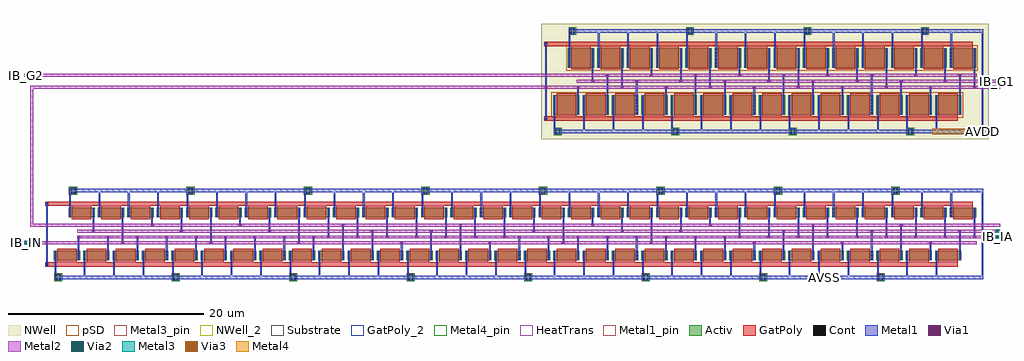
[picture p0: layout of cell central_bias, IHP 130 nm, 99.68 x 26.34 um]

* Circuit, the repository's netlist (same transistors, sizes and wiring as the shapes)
** sch_path: /foss/designs/sg13cmos5l_spma_ip__instramp/xschem/central_bias/central_bias.sch
.subckt central_bias IB_IN IB_IA IB_BUF IB_G1 IB_G2 AVDD AVSS
*.PININFO IB_IN:B IB_IA:B IB_BUF:B IB_G1:B IB_G2:B AVDD:B AVSS:B
MMN_R IB_IN IB_IN AVSS AVSS sg13_lv_nmos w=1u l=2u ng=1 m=10
MMN_IA IB_IA IB_IN AVSS AVSS sg13_lv_nmos w=1u l=2u ng=1 m=33
MMN_BUF IB_BUF IB_IN AVSS AVSS sg13_lv_nmos w=1u l=2u ng=1 m=11
MMN_P n_pref IB_IN AVSS AVSS sg13_lv_nmos w=1u l=2u ng=1 m=8
MMP_R n_pref n_pref AVDD AVDD sg13_lv_pmos w=2u l=2u ng=1 m=10
MMP_G1 IB_G1 n_pref AVDD AVDD sg13_lv_pmos w=2u l=2u ng=1 m=9
MMP_G2 IB_G2 n_pref AVDD AVDD sg13_lv_pmos w=2u l=2u ng=1 m=9
.ends

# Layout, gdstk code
import gdstk
lib = gdstk.Library(unit=1e-6, precision=1e-09)
def R(c, l, rs):  # rectangles x0, y0, x1, y1
    for r in rs: c.add(gdstk.rectangle(r[:2], r[2:], *l))
def A(c, l, x, y, w, h, nx, ny, dx, dy):  # array of equal rectangles
    R(c, l, [(x+i*dx, y+j*dy, x+i*dx+w, y+j*dy+h) for i in range(nx) for j in range(ny)])
Activ = (1, 0)
GatPoly = (5, 0)
GatPoly_2 = (5, 2)
Cont = (6, 0)
Metal1 = (8, 0)
Metal1_pin = (8, 2)
Metal2 = (10, 0)
pSD = (14, 0)
Via1 = (19, 0)
Via2 = (29, 0)
Metal3 = (30, 0)
Metal3_pin = (30, 2)
NWell = (31, 0)
NWell_2 = (31, 2)
Substrate = (40, 0)
Via3 = (49, 0)
Metal4 = (50, 0)
Metal4_pin = (50, 2)
HeatTrans = (51, 0)

central_bias = lib.new_cell('central_bias')
A(central_bias, Activ, 6.07, 0.885, 0.78, 0.78, 8, 1, 12, 0)
A(central_bias, Activ, 6, 3, 2.68, 1, 31, 1, 3, 0)
A(central_bias, Activ, 7.5, 7.4, 2.68, 1, 31, 1, 3, 0)
A(central_bias, Activ, 7.57, 9.735, 0.78, 0.78, 8, 1, 12, 0)
A(central_bias, Activ, 57.07, 15.785, 0.78, 0.78, 4, 1, 12, 0)
A(central_bias, Activ, 57, 17.9, 2.68, 2, 14, 1, 3, 0)
A(central_bias, Activ, 58.5, 22.7, 2.68, 2, 14, 1, 3, 0)
A(central_bias, Activ, 58.57, 26.035, 0.78, 0.78, 4, 1, 12, 0)
R(central_bias, Activ, [(6,3,6.3,3.3), (8.38,3,8.68,3.3), (9,3,9.3,3.3), (11.38,3,11.68,3.3), (12,3,12.3,3.3), (14.38,3,14.68,3.3), (15,3,15.3,3.3), (17.38,3,17.68,3.3), (18,3,18.3,3.3), (20.38,3,20.68,3.3), (21,3,21.3,3.3), (23.38,3,23.68,3.3), (24,3,24.3,3.3), (26.38,3,26.68,3.3), (27,3,27.3,3.3), (29.38,3,29.68,3.3), (30,3,30.3,3.3), (32.38,3,32.68,3.3), (33,3,33.3,3.3), (35.38,3,35.68,3.3), (36,3,36.3,3.3), (38.38,3,38.68,3.3), (39,3,39.3,3.3), (41.38,3,41.68,3.3), (42,3,42.3,3.3), (44.38,3,44.68,3.3), (45,3,45.3,3.3), (47.38,3,47.68,3.3), (48,3,48.3,3.3), (50.38,3,50.68,3.3), (51,3,51.3,3.3), (53.38,3,53.68,3.3), (54,3,54.3,3.3), (56.38,3,56.68,3.3), (57,3,57.3,3.3), (59.38,3,59.68,3.3), (60,3,60.3,3.3), (62.38,3,62.68,3.3), (63,3,63.3,3.3), (65.38,3,65.68,3.3), (66,3,66.3,3.3), (68.38,3,68.68,3.3), (69,3,69.3,3.3), (71.38,3,71.68,3.3), (72,3,72.3,3.3), (74.38,3,74.68,3.3), (75,3,75.3,3.3), (77.38,3,77.68,3.3), (78,3,78.3,3.3), (80.38,3,80.68,3.3), (81,3,81.3,3.3), (83.38,3,83.68,3.3), (84,3,84.3,3.3), (86.38,3,86.68,3.3), (87,3,87.3,3.3), (89.38,3,89.68,3.3), (90,3,90.3,3.3), (92.38,3,92.68,3.3), (93,3,93.3,3.3), (95.38,3,95.68,3.3), (96,3,96.3,3.3), (98.38,3,98.68,3.3), (7.5,8.1,7.8,8.4), (9.88,8.1,10.18,8.4), (10.5,8.1,10.8,8.4), (12.88,8.1,13.18,8.4), (13.5,8.1,13.8,8.4), (15.88,8.1,16.18,8.4), (16.5,8.1,16.8,8.4), (18.88,8.1,19.18,8.4), (19.5,8.1,19.8,8.4), (21.88,8.1,22.18,8.4), (22.5,8.1,22.8,8.4), (24.88,8.1,25.18,8.4), (25.5,8.1,25.8,8.4), (27.88,8.1,28.18,8.4), (28.5,8.1,28.8,8.4), (30.88,8.1,31.18,8.4), (31.5,8.1,31.8,8.4), (33.88,8.1,34.18,8.4), (34.5,8.1,34.8,8.4), (36.88,8.1,37.18,8.4), (37.5,8.1,37.8,8.4), (39.88,8.1,40.18,8.4), (40.5,8.1,40.8,8.4), (42.88,8.1,43.18,8.4), (43.5,8.1,43.8,8.4), (45.88,8.1,46.18,8.4), (46.5,8.1,46.8,8.4), (48.88,8.1,49.18,8.4), (49.5,8.1,49.8,8.4), (51.88,8.1,52.18,8.4), (52.5,8.1,52.8,8.4), (54.88,8.1,55.18,8.4), (55.5,8.1,55.8,8.4), (57.88,8.1,58.18,8.4), (58.5,8.1,58.8,8.4), (60.88,8.1,61.18,8.4), (61.5,8.1,61.8,8.4), (63.88,8.1,64.18,8.4), (64.5,8.1,64.8,8.4), (66.88,8.1,67.18,8.4), (67.5,8.1,67.8,8.4), (69.88,8.1,70.18,8.4), (70.5,8.1,70.8,8.4), (72.88,8.1,73.18,8.4), (73.5,8.1,73.8,8.4), (75.88,8.1,76.18,8.4), (76.5,8.1,76.8,8.4), (78.88,8.1,79.18,8.4), (79.5,8.1,79.8,8.4), (81.88,8.1,82.18,8.4), (82.5,8.1,82.8,8.4), (84.88,8.1,85.18,8.4), (85.5,8.1,85.8,8.4), (87.88,8.1,88.18,8.4), (88.5,8.1,88.8,8.4), (90.88,8.1,91.18,8.4), (91.5,8.1,91.8,8.4), (93.88,8.1,94.18,8.4), (94.5,8.1,94.8,8.4), (96.88,8.1,97.18,8.4), (97.5,8.1,97.8,8.4), (99.88,8.1,100.18,8.4), (57,17.9,57.3,18.2), (59.38,17.9,59.68,18.2), (60,17.9,60.3,18.2), (62.38,17.9,62.68,18.2), (63,17.9,63.3,18.2), (65.38,17.9,65.68,18.2), (66,17.9,66.3,18.2), (68.38,17.9,68.68,18.2), (69,17.9,69.3,18.2), (71.38,17.9,71.68,18.2), (72,17.9,72.3,18.2), (74.38,17.9,74.68,18.2), (75,17.9,75.3,18.2), (77.38,17.9,77.68,18.2), (78,17.9,78.3,18.2), (80.38,17.9,80.68,18.2), (81,17.9,81.3,18.2), (83.38,17.9,83.68,18.2), (84,17.9,84.3,18.2), (86.38,17.9,86.68,18.2), (87,17.9,87.3,18.2), (89.38,17.9,89.68,18.2), (90,17.9,90.3,18.2), (92.38,17.9,92.68,18.2), (93,17.9,93.3,18.2), (95.38,17.9,95.68,18.2), (96,17.9,96.3,18.2), (98.38,17.9,98.68,18.2), (58.5,24.4,58.8,24.7), (60.88,24.4,61.18,24.7), (61.5,24.4,61.8,24.7), (63.88,24.4,64.18,24.7), (64.5,24.4,64.8,24.7), (66.88,24.4,67.18,24.7), (67.5,24.4,67.8,24.7), (69.88,24.4,70.18,24.7), (70.5,24.4,70.8,24.7), (72.88,24.4,73.18,24.7), (73.5,24.4,73.8,24.7), (75.88,24.4,76.18,24.7), (76.5,24.4,76.8,24.7), (78.88,24.4,79.18,24.7), (79.5,24.4,79.8,24.7), (81.88,24.4,82.18,24.7), (82.5,24.4,82.8,24.7), (84.88,24.4,85.18,24.7), (85.5,24.4,85.8,24.7), (87.88,24.4,88.18,24.7), (88.5,24.4,88.8,24.7), (90.88,24.4,91.18,24.7), (91.5,24.4,91.8,24.7), (93.88,24.4,94.18,24.7), (94.5,24.4,94.8,24.7), (96.88,24.4,97.18,24.7), (97.5,24.4,97.8,24.7), (99.88,24.4,100.18,24.7)])
A(central_bias, GatPoly, 6.34, 2.82, 2, 1.36, 31, 1, 3, 0)
A(central_bias, GatPoly, 7.84, 7.22, 2, 1.36, 31, 1, 3, 0)
R(central_bias, GatPoly, [(5.1,2.38,98.34,2.82), (5.1,8.58,99.84,9.02), (56.1,17.28,98.34,17.72), (57.34,17.72,59.34,20.08), (57.34,17.72,59.34,20.08), (60.34,17.72,62.34,20.08), (60.34,17.72,62.34,20.08), (63.34,17.72,65.34,20.08), (63.34,17.72,65.34,20.08), (66.34,17.72,68.34,20.08), (66.34,17.72,68.34,20.08), (69.34,17.72,71.34,20.08), (69.34,17.72,71.34,20.08), (72.34,17.72,74.34,20.08), (72.34,17.72,74.34,20.08), (75.34,17.72,77.34,20.08), (75.34,17.72,77.34,20.08), (78.34,17.72,80.34,20.08), (78.34,17.72,80.34,20.08), (81.34,17.72,83.34,20.08), (81.34,17.72,83.34,20.08), (84.34,17.72,86.34,20.08), (84.34,17.72,86.34,20.08), (87.34,17.72,89.34,20.08), (87.34,17.72,89.34,20.08), (90.34,17.72,92.34,20.08), (90.34,17.72,92.34,20.08), (93.34,17.72,95.34,20.08), (93.34,17.72,95.34,20.08), (96.34,17.72,98.34,20.08), (96.34,17.72,98.34,20.08), (58.84,22.52,60.84,24.88), (58.84,22.52,60.84,24.88), (61.84,22.52,63.84,24.88), (61.84,22.52,63.84,24.88), (64.84,22.52,66.84,24.88), (64.84,22.52,66.84,24.88), (67.84,22.52,69.84,24.88), (67.84,22.52,69.84,24.88), (70.84,22.52,72.84,24.88), (70.84,22.52,72.84,24.88), (73.84,22.52,75.84,24.88), (73.84,22.52,75.84,24.88), (76.84,22.52,78.84,24.88), (76.84,22.52,78.84,24.88), (79.84,22.52,81.84,24.88), (79.84,22.52,81.84,24.88), (82.84,22.52,84.84,24.88), (82.84,22.52,84.84,24.88), (85.84,22.52,87.84,24.88), (85.84,22.52,87.84,24.88), (88.84,22.52,90.84,24.88), (88.84,22.52,90.84,24.88), (91.84,22.52,93.84,24.88), (91.84,22.52,93.84,24.88), (94.84,22.52,96.84,24.88), (94.84,22.52,96.84,24.88), (97.84,22.52,99.84,24.88), (97.84,22.52,99.84,24.88), (56.1,24.88,99.84,25.32)])
A(central_bias, GatPoly_2, 6.34, 2.82, 2, 1.36, 31, 1, 3, 0)
A(central_bias, GatPoly_2, 7.84, 7.22, 2, 1.36, 31, 1, 3, 0)
A(central_bias, Cont, 6.07, 3.07, 0.16, 0.16, 1, 3, 0, 0.35)
A(central_bias, Cont, 8.45, 3.07, 0.16, 0.16, 1, 3, 0, 0.35)
A(central_bias, Cont, 9.07, 3.07, 0.16, 0.16, 1, 3, 0, 0.35)
A(central_bias, Cont, 11.45, 3.07, 0.16, 0.16, 1, 3, 0, 0.35)
A(central_bias, Cont, 12.07, 3.07, 0.16, 0.16, 1, 3, 0, 0.35)
A(central_bias, Cont, 14.45, 3.07, 0.16, 0.16, 1, 3, 0, 0.35)
A(central_bias, Cont, 15.07, 3.07, 0.16, 0.16, 1, 3, 0, 0.35)
A(central_bias, Cont, 17.45, 3.07, 0.16, 0.16, 1, 3, 0, 0.35)
A(central_bias, Cont, 18.07, 3.07, 0.16, 0.16, 1, 3, 0, 0.35)
A(central_bias, Cont, 20.45, 3.07, 0.16, 0.16, 1, 3, 0, 0.35)
A(central_bias, Cont, 21.07, 3.07, 0.16, 0.16, 1, 3, 0, 0.35)
A(central_bias, Cont, 23.45, 3.07, 0.16, 0.16, 1, 3, 0, 0.35)
A(central_bias, Cont, 24.07, 3.07, 0.16, 0.16, 1, 3, 0, 0.35)
A(central_bias, Cont, 26.45, 3.07, 0.16, 0.16, 1, 3, 0, 0.35)
A(central_bias, Cont, 27.07, 3.07, 0.16, 0.16, 1, 3, 0, 0.35)
A(central_bias, Cont, 29.45, 3.07, 0.16, 0.16, 1, 3, 0, 0.35)
A(central_bias, Cont, 30.07, 3.07, 0.16, 0.16, 1, 3, 0, 0.35)
A(central_bias, Cont, 32.45, 3.07, 0.16, 0.16, 1, 3, 0, 0.35)
A(central_bias, Cont, 33.07, 3.07, 0.16, 0.16, 1, 3, 0, 0.35)
A(central_bias, Cont, 35.45, 3.07, 0.16, 0.16, 1, 3, 0, 0.35)
A(central_bias, Cont, 36.07, 3.07, 0.16, 0.16, 1, 3, 0, 0.35)
A(central_bias, Cont, 38.45, 3.07, 0.16, 0.16, 1, 3, 0, 0.35)
A(central_bias, Cont, 39.07, 3.07, 0.16, 0.16, 1, 3, 0, 0.35)
A(central_bias, Cont, 41.45, 3.07, 0.16, 0.16, 1, 3, 0, 0.35)
A(central_bias, Cont, 42.07, 3.07, 0.16, 0.16, 1, 3, 0, 0.35)
A(central_bias, Cont, 44.45, 3.07, 0.16, 0.16, 1, 3, 0, 0.35)
A(central_bias, Cont, 45.07, 3.07, 0.16, 0.16, 1, 3, 0, 0.35)
A(central_bias, Cont, 47.45, 3.07, 0.16, 0.16, 1, 3, 0, 0.35)
A(central_bias, Cont, 48.07, 3.07, 0.16, 0.16, 1, 3, 0, 0.35)
A(central_bias, Cont, 50.45, 3.07, 0.16, 0.16, 1, 3, 0, 0.35)
A(central_bias, Cont, 51.07, 3.07, 0.16, 0.16, 1, 3, 0, 0.35)
A(central_bias, Cont, 53.45, 3.07, 0.16, 0.16, 1, 3, 0, 0.35)
A(central_bias, Cont, 54.07, 3.07, 0.16, 0.16, 1, 3, 0, 0.35)
A(central_bias, Cont, 56.45, 3.07, 0.16, 0.16, 1, 3, 0, 0.35)
A(central_bias, Cont, 57.07, 3.07, 0.16, 0.16, 1, 3, 0, 0.35)
A(central_bias, Cont, 59.45, 3.07, 0.16, 0.16, 1, 3, 0, 0.35)
A(central_bias, Cont, 60.07, 3.07, 0.16, 0.16, 1, 3, 0, 0.35)
A(central_bias, Cont, 62.45, 3.07, 0.16, 0.16, 1, 3, 0, 0.35)
A(central_bias, Cont, 63.07, 3.07, 0.16, 0.16, 1, 3, 0, 0.35)
A(central_bias, Cont, 65.45, 3.07, 0.16, 0.16, 1, 3, 0, 0.35)
A(central_bias, Cont, 66.07, 3.07, 0.16, 0.16, 1, 3, 0, 0.35)
A(central_bias, Cont, 68.45, 3.07, 0.16, 0.16, 1, 3, 0, 0.35)
A(central_bias, Cont, 69.07, 3.07, 0.16, 0.16, 1, 3, 0, 0.35)
A(central_bias, Cont, 71.45, 3.07, 0.16, 0.16, 1, 3, 0, 0.35)
A(central_bias, Cont, 72.07, 3.07, 0.16, 0.16, 1, 3, 0, 0.35)
A(central_bias, Cont, 74.45, 3.07, 0.16, 0.16, 1, 3, 0, 0.35)
A(central_bias, Cont, 75.07, 3.07, 0.16, 0.16, 1, 3, 0, 0.35)
A(central_bias, Cont, 77.45, 3.07, 0.16, 0.16, 1, 3, 0, 0.35)
A(central_bias, Cont, 78.07, 3.07, 0.16, 0.16, 1, 3, 0, 0.35)
A(central_bias, Cont, 80.45, 3.07, 0.16, 0.16, 1, 3, 0, 0.35)
A(central_bias, Cont, 81.07, 3.07, 0.16, 0.16, 1, 3, 0, 0.35)
A(central_bias, Cont, 83.45, 3.07, 0.16, 0.16, 1, 3, 0, 0.35)
A(central_bias, Cont, 84.07, 3.07, 0.16, 0.16, 1, 3, 0, 0.35)
A(central_bias, Cont, 86.45, 3.07, 0.16, 0.16, 1, 3, 0, 0.35)
A(central_bias, Cont, 87.07, 3.07, 0.16, 0.16, 1, 3, 0, 0.35)
A(central_bias, Cont, 89.45, 3.07, 0.16, 0.16, 1, 3, 0, 0.35)
A(central_bias, Cont, 90.07, 3.07, 0.16, 0.16, 1, 3, 0, 0.35)
A(central_bias, Cont, 92.45, 3.07, 0.16, 0.16, 1, 3, 0, 0.35)
A(central_bias, Cont, 93.07, 3.07, 0.16, 0.16, 1, 3, 0, 0.35)
A(central_bias, Cont, 95.45, 3.07, 0.16, 0.16, 1, 3, 0, 0.35)
A(central_bias, Cont, 96.07, 3.07, 0.16, 0.16, 1, 3, 0, 0.35)
A(central_bias, Cont, 98.45, 3.07, 0.16, 0.16, 1, 3, 0, 0.35)
A(central_bias, Cont, 7.57, 7.47, 0.16, 0.16, 1, 3, 0, 0.35)
A(central_bias, Cont, 9.95, 7.47, 0.16, 0.16, 1, 3, 0, 0.35)
A(central_bias, Cont, 10.57, 7.47, 0.16, 0.16, 1, 3, 0, 0.35)
A(central_bias, Cont, 12.95, 7.47, 0.16, 0.16, 1, 3, 0, 0.35)
A(central_bias, Cont, 13.57, 7.47, 0.16, 0.16, 1, 3, 0, 0.35)
A(central_bias, Cont, 15.95, 7.47, 0.16, 0.16, 1, 3, 0, 0.35)
A(central_bias, Cont, 16.57, 7.47, 0.16, 0.16, 1, 3, 0, 0.35)
A(central_bias, Cont, 18.95, 7.47, 0.16, 0.16, 1, 3, 0, 0.35)
A(central_bias, Cont, 19.57, 7.47, 0.16, 0.16, 1, 3, 0, 0.35)
A(central_bias, Cont, 21.95, 7.47, 0.16, 0.16, 1, 3, 0, 0.35)
A(central_bias, Cont, 22.57, 7.47, 0.16, 0.16, 1, 3, 0, 0.35)
A(central_bias, Cont, 24.95, 7.47, 0.16, 0.16, 1, 3, 0, 0.35)
A(central_bias, Cont, 25.57, 7.47, 0.16, 0.16, 1, 3, 0, 0.35)
A(central_bias, Cont, 27.95, 7.47, 0.16, 0.16, 1, 3, 0, 0.35)
A(central_bias, Cont, 28.57, 7.47, 0.16, 0.16, 1, 3, 0, 0.35)
A(central_bias, Cont, 30.95, 7.47, 0.16, 0.16, 1, 3, 0, 0.35)
A(central_bias, Cont, 31.57, 7.47, 0.16, 0.16, 1, 3, 0, 0.35)
A(central_bias, Cont, 33.95, 7.47, 0.16, 0.16, 1, 3, 0, 0.35)
A(central_bias, Cont, 34.57, 7.47, 0.16, 0.16, 1, 3, 0, 0.35)
A(central_bias, Cont, 36.95, 7.47, 0.16, 0.16, 1, 3, 0, 0.35)
A(central_bias, Cont, 37.57, 7.47, 0.16, 0.16, 1, 3, 0, 0.35)
A(central_bias, Cont, 39.95, 7.47, 0.16, 0.16, 1, 3, 0, 0.35)
A(central_bias, Cont, 40.57, 7.47, 0.16, 0.16, 1, 3, 0, 0.35)
A(central_bias, Cont, 42.95, 7.47, 0.16, 0.16, 1, 3, 0, 0.35)
A(central_bias, Cont, 43.57, 7.47, 0.16, 0.16, 1, 3, 0, 0.35)
A(central_bias, Cont, 45.95, 7.47, 0.16, 0.16, 1, 3, 0, 0.35)
A(central_bias, Cont, 46.57, 7.47, 0.16, 0.16, 1, 3, 0, 0.35)
A(central_bias, Cont, 48.95, 7.47, 0.16, 0.16, 1, 3, 0, 0.35)
A(central_bias, Cont, 49.57, 7.47, 0.16, 0.16, 1, 3, 0, 0.35)
A(central_bias, Cont, 51.95, 7.47, 0.16, 0.16, 1, 3, 0, 0.35)
A(central_bias, Cont, 52.57, 7.47, 0.16, 0.16, 1, 3, 0, 0.35)
A(central_bias, Cont, 54.95, 7.47, 0.16, 0.16, 1, 3, 0, 0.35)
A(central_bias, Cont, 55.57, 7.47, 0.16, 0.16, 1, 3, 0, 0.35)
A(central_bias, Cont, 57.95, 7.47, 0.16, 0.16, 1, 3, 0, 0.35)
A(central_bias, Cont, 58.57, 7.47, 0.16, 0.16, 1, 3, 0, 0.35)
A(central_bias, Cont, 60.95, 7.47, 0.16, 0.16, 1, 3, 0, 0.35)
A(central_bias, Cont, 61.57, 7.47, 0.16, 0.16, 1, 3, 0, 0.35)
A(central_bias, Cont, 63.95, 7.47, 0.16, 0.16, 1, 3, 0, 0.35)
A(central_bias, Cont, 64.57, 7.47, 0.16, 0.16, 1, 3, 0, 0.35)
A(central_bias, Cont, 66.95, 7.47, 0.16, 0.16, 1, 3, 0, 0.35)
A(central_bias, Cont, 67.57, 7.47, 0.16, 0.16, 1, 3, 0, 0.35)
A(central_bias, Cont, 69.95, 7.47, 0.16, 0.16, 1, 3, 0, 0.35)
A(central_bias, Cont, 70.57, 7.47, 0.16, 0.16, 1, 3, 0, 0.35)
A(central_bias, Cont, 72.95, 7.47, 0.16, 0.16, 1, 3, 0, 0.35)
A(central_bias, Cont, 73.57, 7.47, 0.16, 0.16, 1, 3, 0, 0.35)
A(central_bias, Cont, 75.95, 7.47, 0.16, 0.16, 1, 3, 0, 0.35)
A(central_bias, Cont, 76.57, 7.47, 0.16, 0.16, 1, 3, 0, 0.35)
A(central_bias, Cont, 78.95, 7.47, 0.16, 0.16, 1, 3, 0, 0.35)
A(central_bias, Cont, 79.57, 7.47, 0.16, 0.16, 1, 3, 0, 0.35)
A(central_bias, Cont, 81.95, 7.47, 0.16, 0.16, 1, 3, 0, 0.35)
A(central_bias, Cont, 82.57, 7.47, 0.16, 0.16, 1, 3, 0, 0.35)
A(central_bias, Cont, 84.95, 7.47, 0.16, 0.16, 1, 3, 0, 0.35)
A(central_bias, Cont, 85.57, 7.47, 0.16, 0.16, 1, 3, 0, 0.35)
A(central_bias, Cont, 87.95, 7.47, 0.16, 0.16, 1, 3, 0, 0.35)
A(central_bias, Cont, 88.57, 7.47, 0.16, 0.16, 1, 3, 0, 0.35)
A(central_bias, Cont, 90.95, 7.47, 0.16, 0.16, 1, 3, 0, 0.35)
A(central_bias, Cont, 91.57, 7.47, 0.16, 0.16, 1, 3, 0, 0.35)
A(central_bias, Cont, 93.95, 7.47, 0.16, 0.16, 1, 3, 0, 0.35)
A(central_bias, Cont, 94.57, 7.47, 0.16, 0.16, 1, 3, 0, 0.35)
A(central_bias, Cont, 96.95, 7.47, 0.16, 0.16, 1, 3, 0, 0.35)
A(central_bias, Cont, 97.57, 7.47, 0.16, 0.16, 1, 3, 0, 0.35)
A(central_bias, Cont, 99.95, 7.47, 0.16, 0.16, 1, 3, 0, 0.35)
A(central_bias, Cont, 57.07, 17.97, 0.16, 0.16, 1, 6, 0, 0.34)
A(central_bias, Cont, 59.45, 17.97, 0.16, 0.16, 1, 6, 0, 0.34)
A(central_bias, Cont, 60.07, 17.97, 0.16, 0.16, 1, 6, 0, 0.34)
A(central_bias, Cont, 62.45, 17.97, 0.16, 0.16, 1, 6, 0, 0.34)
A(central_bias, Cont, 63.07, 17.97, 0.16, 0.16, 1, 6, 0, 0.34)
A(central_bias, Cont, 65.45, 17.97, 0.16, 0.16, 1, 6, 0, 0.34)
A(central_bias, Cont, 66.07, 17.97, 0.16, 0.16, 1, 6, 0, 0.34)
A(central_bias, Cont, 68.45, 17.97, 0.16, 0.16, 1, 6, 0, 0.34)
A(central_bias, Cont, 69.07, 17.97, 0.16, 0.16, 1, 6, 0, 0.34)
A(central_bias, Cont, 71.45, 17.97, 0.16, 0.16, 1, 6, 0, 0.34)
A(central_bias, Cont, 72.07, 17.97, 0.16, 0.16, 1, 6, 0, 0.34)
A(central_bias, Cont, 74.45, 17.97, 0.16, 0.16, 1, 6, 0, 0.34)
A(central_bias, Cont, 75.07, 17.97, 0.16, 0.16, 1, 6, 0, 0.34)
A(central_bias, Cont, 77.45, 17.97, 0.16, 0.16, 1, 6, 0, 0.34)
A(central_bias, Cont, 78.07, 17.97, 0.16, 0.16, 1, 6, 0, 0.34)
A(central_bias, Cont, 80.45, 17.97, 0.16, 0.16, 1, 6, 0, 0.34)
A(central_bias, Cont, 81.07, 17.97, 0.16, 0.16, 1, 6, 0, 0.34)
A(central_bias, Cont, 83.45, 17.97, 0.16, 0.16, 1, 6, 0, 0.34)
A(central_bias, Cont, 84.07, 17.97, 0.16, 0.16, 1, 6, 0, 0.34)
A(central_bias, Cont, 86.45, 17.97, 0.16, 0.16, 1, 6, 0, 0.34)
A(central_bias, Cont, 87.07, 17.97, 0.16, 0.16, 1, 6, 0, 0.34)
A(central_bias, Cont, 89.45, 17.97, 0.16, 0.16, 1, 6, 0, 0.34)
A(central_bias, Cont, 90.07, 17.97, 0.16, 0.16, 1, 6, 0, 0.34)
A(central_bias, Cont, 92.45, 17.97, 0.16, 0.16, 1, 6, 0, 0.34)
A(central_bias, Cont, 93.07, 17.97, 0.16, 0.16, 1, 6, 0, 0.34)
A(central_bias, Cont, 95.45, 17.97, 0.16, 0.16, 1, 6, 0, 0.34)
A(central_bias, Cont, 96.07, 17.97, 0.16, 0.16, 1, 6, 0, 0.34)
A(central_bias, Cont, 98.45, 17.97, 0.16, 0.16, 1, 6, 0, 0.34)
A(central_bias, Cont, 58.57, 22.77, 0.16, 0.16, 1, 6, 0, 0.34)
A(central_bias, Cont, 60.95, 22.77, 0.16, 0.16, 1, 6, 0, 0.34)
A(central_bias, Cont, 61.57, 22.77, 0.16, 0.16, 1, 6, 0, 0.34)
A(central_bias, Cont, 63.95, 22.77, 0.16, 0.16, 1, 6, 0, 0.34)
A(central_bias, Cont, 64.57, 22.77, 0.16, 0.16, 1, 6, 0, 0.34)
A(central_bias, Cont, 66.95, 22.77, 0.16, 0.16, 1, 6, 0, 0.34)
A(central_bias, Cont, 67.57, 22.77, 0.16, 0.16, 1, 6, 0, 0.34)
A(central_bias, Cont, 69.95, 22.77, 0.16, 0.16, 1, 6, 0, 0.34)
A(central_bias, Cont, 70.57, 22.77, 0.16, 0.16, 1, 6, 0, 0.34)
A(central_bias, Cont, 72.95, 22.77, 0.16, 0.16, 1, 6, 0, 0.34)
A(central_bias, Cont, 73.57, 22.77, 0.16, 0.16, 1, 6, 0, 0.34)
A(central_bias, Cont, 75.95, 22.77, 0.16, 0.16, 1, 6, 0, 0.34)
A(central_bias, Cont, 76.57, 22.77, 0.16, 0.16, 1, 6, 0, 0.34)
A(central_bias, Cont, 78.95, 22.77, 0.16, 0.16, 1, 6, 0, 0.34)
A(central_bias, Cont, 79.57, 22.77, 0.16, 0.16, 1, 6, 0, 0.34)
A(central_bias, Cont, 81.95, 22.77, 0.16, 0.16, 1, 6, 0, 0.34)
A(central_bias, Cont, 82.57, 22.77, 0.16, 0.16, 1, 6, 0, 0.34)
A(central_bias, Cont, 84.95, 22.77, 0.16, 0.16, 1, 6, 0, 0.34)
A(central_bias, Cont, 85.57, 22.77, 0.16, 0.16, 1, 6, 0, 0.34)
A(central_bias, Cont, 87.95, 22.77, 0.16, 0.16, 1, 6, 0, 0.34)
A(central_bias, Cont, 88.57, 22.77, 0.16, 0.16, 1, 6, 0, 0.34)
A(central_bias, Cont, 90.95, 22.77, 0.16, 0.16, 1, 6, 0, 0.34)
A(central_bias, Cont, 91.57, 22.77, 0.16, 0.16, 1, 6, 0, 0.34)
A(central_bias, Cont, 93.95, 22.77, 0.16, 0.16, 1, 6, 0, 0.34)
A(central_bias, Cont, 94.57, 22.77, 0.16, 0.16, 1, 6, 0, 0.34)
A(central_bias, Cont, 96.95, 22.77, 0.16, 0.16, 1, 6, 0, 0.34)
A(central_bias, Cont, 97.57, 22.77, 0.16, 0.16, 1, 6, 0, 0.34)
A(central_bias, Cont, 99.95, 22.77, 0.16, 0.16, 1, 6, 0, 0.34)
R(central_bias, Cont, [(6.21,1.025,6.37,1.185), (6.55,1.025,6.71,1.185), (18.21,1.025,18.37,1.185), (18.55,1.025,18.71,1.185), (30.21,1.025,30.37,1.185), (30.55,1.025,30.71,1.185), (42.21,1.025,42.37,1.185), (42.55,1.025,42.71,1.185), (54.21,1.025,54.37,1.185), (54.55,1.025,54.71,1.185), (66.21,1.025,66.37,1.185), (66.55,1.025,66.71,1.185), (78.21,1.025,78.37,1.185), (78.55,1.025,78.71,1.185), (90.21,1.025,90.37,1.185), (90.55,1.025,90.71,1.185), (6.21,1.365,6.37,1.525), (6.55,1.365,6.71,1.525), (18.21,1.365,18.37,1.525), (18.55,1.365,18.71,1.525), (30.21,1.365,30.37,1.525), (30.55,1.365,30.71,1.525), (42.21,1.365,42.37,1.525), (42.55,1.365,42.71,1.525), (54.21,1.365,54.37,1.525), (54.55,1.365,54.71,1.525), (66.21,1.365,66.37,1.525), (66.55,1.365,66.71,1.525), (78.21,1.365,78.37,1.525), (78.55,1.365,78.71,1.525), (90.21,1.365,90.37,1.525), (90.55,1.365,90.71,1.525), (5.2,2.48,5.36,2.64), (5.2,8.76,5.36,8.92), (7.71,9.875,7.87,10.035), (8.05,9.875,8.21,10.035), (19.71,9.875,19.87,10.035), (20.05,9.875,20.21,10.035), (31.71,9.875,31.87,10.035), (32.05,9.875,32.21,10.035), (43.71,9.875,43.87,10.035), (44.05,9.875,44.21,10.035), (55.71,9.875,55.87,10.035), (56.05,9.875,56.21,10.035), (67.71,9.875,67.87,10.035), (68.05,9.875,68.21,10.035), (79.71,9.875,79.87,10.035), (80.05,9.875,80.21,10.035), (91.71,9.875,91.87,10.035), (92.05,9.875,92.21,10.035), (7.71,10.215,7.87,10.375), (8.05,10.215,8.21,10.375), (19.71,10.215,19.87,10.375), (20.05,10.215,20.21,10.375), (31.71,10.215,31.87,10.375), (32.05,10.215,32.21,10.375), (43.71,10.215,43.87,10.375), (44.05,10.215,44.21,10.375), (55.71,10.215,55.87,10.375), (56.05,10.215,56.21,10.375), (67.71,10.215,67.87,10.375), (68.05,10.215,68.21,10.375), (79.71,10.215,79.87,10.375), (80.05,10.215,80.21,10.375), (91.71,10.215,91.87,10.375), (92.05,10.215,92.21,10.375), (57.21,15.925,57.37,16.085), (57.55,15.925,57.71,16.085), (69.21,15.925,69.37,16.085), (69.55,15.925,69.71,16.085), (81.21,15.925,81.37,16.085), (81.55,15.925,81.71,16.085), (93.21,15.925,93.37,16.085), (93.55,15.925,93.71,16.085), (57.21,16.265,57.37,16.425), (57.55,16.265,57.71,16.425), (69.21,16.265,69.37,16.425), (69.55,16.265,69.71,16.425), (81.21,16.265,81.37,16.425), (81.55,16.265,81.71,16.425), (93.21,16.265,93.37,16.425), (93.55,16.265,93.71,16.425), (56.2,17.38,56.36,17.54), (56.2,25.06,56.36,25.22), (58.71,26.175,58.87,26.335), (59.05,26.175,59.21,26.335), (70.71,26.175,70.87,26.335), (71.05,26.175,71.21,26.335), (82.71,26.175,82.87,26.335), (83.05,26.175,83.21,26.335), (94.71,26.175,94.87,26.335), (95.05,26.175,95.21,26.335), (58.71,26.515,58.87,26.675), (59.05,26.515,59.21,26.675), (70.71,26.515,70.87,26.675), (71.05,26.515,71.21,26.675), (82.71,26.515,82.87,26.675), (83.05,26.515,83.21,26.675), (94.71,26.515,94.87,26.675), (95.05,26.515,95.21,26.675)])
A(central_bias, Metal1, 6.21, 0.975, 0.5, 0.6, 8, 1, 12, 0)
A(central_bias, Metal1, 6.21, 1.025, 0.5, 0.5, 8, 1, 12, 0)
A(central_bias, Metal1, 6.07, 1.45, 0.16, 1.55, 31, 1, 3, 0)
A(central_bias, Metal1, 8.45, 4, 0.16, 1.55, 9, 1, 3, 0)
A(central_bias, Metal1, 53.45, 4, 0.16, 1.55, 8, 1, 3, 0)
A(central_bias, Metal1, 77.45, 4, 0.16, 0.95, 3, 1, 9, 0)
A(central_bias, Metal1, 80.45, 4, 0.16, 2.15, 3, 1, 9, 0)
A(central_bias, Metal1, 12.88, 4.65, 0.3, 0.3, 3, 1, 9, 0)
A(central_bias, Metal1, 12.95, 4.65, 0.16, 2.75, 3, 1, 9, 0)
A(central_bias, Metal1, 77.38, 4.65, 0.3, 0.3, 3, 1, 9, 0)
A(central_bias, Metal1, 8.38, 5.25, 0.3, 0.3, 9, 1, 3, 0)
A(central_bias, Metal1, 33.88, 5.25, 0.3, 0.3, 7, 1, 3, 0)
A(central_bias, Metal1, 33.95, 5.25, 0.16, 2.15, 7, 1, 3, 0)
A(central_bias, Metal1, 53.38, 5.25, 0.3, 0.3, 8, 1, 3, 0)
A(central_bias, Metal1, 75.88, 5.25, 0.3, 0.3, 9, 1, 3, 0)
A(central_bias, Metal1, 75.95, 5.25, 0.16, 2.15, 9, 1, 3, 0)
A(central_bias, Metal1, 9.88, 5.85, 0.3, 0.3, 3, 1, 9, 0)
A(central_bias, Metal1, 9.95, 5.85, 0.16, 1.55, 3, 1, 9, 0)
A(central_bias, Metal1, 80.38, 5.85, 0.3, 0.3, 3, 1, 9, 0)
A(central_bias, Metal1, 7.57, 8.4, 0.16, 1.55, 31, 1, 3, 0)
A(central_bias, Metal1, 7.71, 9.825, 0.5, 0.6, 8, 1, 12, 0)
A(central_bias, Metal1, 7.71, 9.875, 0.5, 0.5, 8, 1, 12, 0)
A(central_bias, Metal1, 57.21, 15.875, 0.5, 0.6, 4, 1, 12, 0)
A(central_bias, Metal1, 57.07, 16.35, 0.16, 1.55, 14, 1, 3, 0)
A(central_bias, Metal1, 59.45, 19.9, 0.16, 0.95, 5, 1, 9, 0)
A(central_bias, Metal1, 62.45, 19.9, 0.16, 2.15, 5, 1, 9, 0)
A(central_bias, Metal1, 65.45, 19.9, 0.16, 1.55, 4, 1, 9, 0)
A(central_bias, Metal1, 59.38, 20.55, 0.3, 0.3, 10, 1, 4.5, 0)
A(central_bias, Metal1, 63.95, 20.55, 0.16, 2.15, 5, 1, 9, 0)
A(central_bias, Metal1, 60.88, 21.15, 0.3, 0.3, 9, 1, 4.5, 0)
A(central_bias, Metal1, 60.95, 21.15, 0.16, 1.55, 5, 1, 9, 0)
A(central_bias, Metal1, 62.38, 21.75, 0.3, 0.3, 9, 1, 4.5, 0)
A(central_bias, Metal1, 66.95, 21.75, 0.16, 0.95, 4, 1, 9, 0)
A(central_bias, Metal1, 58.57, 24.7, 0.16, 1.55, 14, 1, 3, 0)
A(central_bias, Metal1, 58.71, 26.125, 0.5, 0.6, 4, 1, 12, 0)
R(central_bias, Metal1, [(84.5,1.025,84.9,1.525), (6.07,1.1,96.23,1.45), (96.07,1.1,100.94,1.45), (100.78,1.1,100.94,10.3), (5.15,2.43,5.41,2.69), (5.2,2.43,5.36,8.97), (6.07,3,6.23,4), (8.45,3,8.61,4), (9.07,3,9.23,4), (11.45,3,11.61,4), (12.07,3,12.23,4), (14.45,3,14.61,4), (15.07,3,15.23,4), (17.45,3,17.61,4), (18.07,3,18.23,4), (20.45,3,20.61,4), (21.07,3,21.23,4), (23.45,3,23.61,4), (24.07,3,24.23,4), (26.45,3,26.61,4), (27.07,3,27.23,4), (29.45,3,29.61,4), (30.07,3,30.23,4), (32.45,3,32.61,4), (33.07,3,33.23,4), (35.45,3,35.61,4), (36.07,3,36.23,4), (38.45,3,38.61,4), (39.07,3,39.23,4), (41.45,3,41.61,4), (42.07,3,42.23,4), (44.45,3,44.61,4), (45.07,3,45.23,4), (47.45,3,47.61,4), (48.07,3,48.23,4), (50.45,3,50.61,4), (51.07,3,51.23,4), (53.45,3,53.61,4), (54.07,3,54.23,4), (56.45,3,56.61,4), (57.07,3,57.23,4), (59.45,3,59.61,4), (60.07,3,60.23,4), (62.45,3,62.61,4), (63.07,3,63.23,4), (65.45,3,65.61,4), (66.07,3,66.23,4), (68.45,3,68.61,4), (69.07,3,69.23,4), (71.45,3,71.61,4), (72.07,3,72.23,4), (74.45,3,74.61,4), (75.07,3,75.23,4), (77.45,3,77.61,4), (78.07,3,78.23,4), (80.45,3,80.61,4), (81.07,3,81.23,4), (83.45,3,83.61,4), (84.07,3,84.23,4), (86.45,3,86.61,4), (87.07,3,87.23,4), (89.45,3,89.61,4), (90.07,3,90.23,4), (92.45,3,92.61,4), (93.07,3,93.23,4), (95.45,3,95.61,4), (96.07,3,96.23,4), (98.45,3,98.61,4), (35.45,4,35.61,6.75), (38.45,4,38.61,6.15), (41.45,4,41.61,4.95), (44.45,4,44.61,6.15), (47.45,4,47.61,6.75), (50.45,4,50.61,4.95), (83.45,4,83.61,6.75), (92.45,4,92.61,6.75), (5.15,4.65,5.41,4.95), (41.38,4.65,41.68,4.95), (50.38,4.65,50.68,4.95), (57.88,4.65,58.18,4.95), (57.95,4.65,58.11,7.4), (66.88,4.65,67.18,4.95), (66.95,4.65,67.11,7.4), (38.38,5.85,38.68,6.15), (44.38,5.85,44.68,6.15), (54.88,5.85,55.18,6.15), (54.95,5.85,55.11,7.4), (63.88,5.85,64.18,6.15), (63.95,5.85,64.11,7.4), (69.88,5.85,70.18,6.15), (69.95,5.85,70.11,7.4), (15.88,6.45,16.18,6.75), (15.95,6.45,16.11,7.4), (24.88,6.45,25.18,6.75), (24.95,6.45,25.11,7.4), (35.38,6.45,35.68,6.75), (47.38,6.45,47.68,6.75), (60.88,6.45,61.18,6.75), (60.95,6.45,61.11,7.4), (72.88,6.45,73.18,6.75), (72.95,6.45,73.11,7.4), (83.38,6.45,83.68,6.75), (92.38,6.45,92.68,6.75), (7.57,7.4,7.73,8.4), (9.95,7.4,10.11,8.4), (10.57,7.4,10.73,8.4), (12.95,7.4,13.11,8.4), (13.57,7.4,13.73,8.4), (15.95,7.4,16.11,8.4), (16.57,7.4,16.73,8.4), (18.95,7.4,19.11,8.4), (19.57,7.4,19.73,8.4), (21.95,7.4,22.11,8.4), (22.57,7.4,22.73,8.4), (24.95,7.4,25.11,8.4), (25.57,7.4,25.73,8.4), (27.95,7.4,28.11,8.4), (28.57,7.4,28.73,8.4), (30.95,7.4,31.11,8.4), (31.57,7.4,31.73,8.4), (33.95,7.4,34.11,8.4), (34.57,7.4,34.73,8.4), (36.95,7.4,37.11,8.4), (37.57,7.4,37.73,8.4), (39.95,7.4,40.11,8.4), (40.57,7.4,40.73,8.4), (42.95,7.4,43.11,8.4), (43.57,7.4,43.73,8.4), (45.95,7.4,46.11,8.4), (46.57,7.4,46.73,8.4), (48.95,7.4,49.11,8.4), (49.57,7.4,49.73,8.4), (51.95,7.4,52.11,8.4), (52.57,7.4,52.73,8.4), (54.95,7.4,55.11,8.4), (55.57,7.4,55.73,8.4), (57.95,7.4,58.11,8.4), (58.57,7.4,58.73,8.4), (60.95,7.4,61.11,8.4), (61.57,7.4,61.73,8.4), (63.95,7.4,64.11,8.4), (64.57,7.4,64.73,8.4), (66.95,7.4,67.11,8.4), (67.57,7.4,67.73,8.4), (69.95,7.4,70.11,8.4), (70.57,7.4,70.73,8.4), (72.95,7.4,73.11,8.4), (73.57,7.4,73.73,8.4), (75.95,7.4,76.11,8.4), (76.57,7.4,76.73,8.4), (78.95,7.4,79.11,8.4), (79.57,7.4,79.73,8.4), (81.95,7.4,82.11,8.4), (82.57,7.4,82.73,8.4), (84.95,7.4,85.11,8.4), (85.57,7.4,85.73,8.4), (87.95,7.4,88.11,8.4), (88.57,7.4,88.73,8.4), (90.95,7.4,91.11,8.4), (91.57,7.4,91.73,8.4), (93.95,7.4,94.11,8.4), (94.57,7.4,94.73,8.4), (96.95,7.4,97.11,8.4), (97.57,7.4,97.73,8.4), (99.95,7.4,100.11,8.4), (5.15,8.71,5.41,8.97), (7.57,9.95,97.73,10.3), (97.57,9.95,100.94,10.3), (100.66,15.925,101.06,16.425), (57.07,16,96.23,16.35), (96.07,16,100.94,16.35), (100.78,16,100.94,26.6), (56.15,17.33,56.41,17.59), (56.2,17.33,56.36,25.27), (57.07,17.9,57.23,19.9), (57.07,17.9,57.23,19.9), (59.45,17.9,59.61,19.9), (59.45,17.9,59.61,19.9), (60.07,17.9,60.23,19.9), (60.07,17.9,60.23,19.9), (62.45,17.9,62.61,19.9), (62.45,17.9,62.61,19.9), (63.07,17.9,63.23,19.9), (63.07,17.9,63.23,19.9), (65.45,17.9,65.61,19.9), (65.45,17.9,65.61,19.9), (66.07,17.9,66.23,19.9), (66.07,17.9,66.23,19.9), (68.45,17.9,68.61,19.9), (68.45,17.9,68.61,19.9), (69.07,17.9,69.23,19.9), (69.07,17.9,69.23,19.9), (71.45,17.9,71.61,19.9), (71.45,17.9,71.61,19.9), (72.07,17.9,72.23,19.9), (72.07,17.9,72.23,19.9), (74.45,17.9,74.61,19.9), (74.45,17.9,74.61,19.9), (75.07,17.9,75.23,19.9), (75.07,17.9,75.23,19.9), (77.45,17.9,77.61,19.9), (77.45,17.9,77.61,19.9), (78.07,17.9,78.23,19.9), (78.07,17.9,78.23,19.9), (80.45,17.9,80.61,19.9), (80.45,17.9,80.61,19.9), (81.07,17.9,81.23,19.9), (81.07,17.9,81.23,19.9), (83.45,17.9,83.61,19.9), (83.45,17.9,83.61,19.9), (84.07,17.9,84.23,19.9), (84.07,17.9,84.23,19.9), (86.45,17.9,86.61,19.9), (86.45,17.9,86.61,19.9), (87.07,17.9,87.23,19.9), (87.07,17.9,87.23,19.9), (89.45,17.9,89.61,19.9), (89.45,17.9,89.61,19.9), (90.07,17.9,90.23,19.9), (90.07,17.9,90.23,19.9), (92.45,17.9,92.61,19.9), (92.45,17.9,92.61,19.9), (93.07,17.9,93.23,19.9), (93.07,17.9,93.23,19.9), (95.45,17.9,95.61,19.9), (95.45,17.9,95.61,19.9), (96.07,17.9,96.23,19.9), (96.07,17.9,96.23,19.9), (98.45,17.9,98.61,19.9), (98.45,17.9,98.61,19.9), (56.15,20.55,56.41,20.85), (58.57,22.7,58.73,24.7), (58.57,22.7,58.73,24.7), (60.95,22.7,61.11,24.7), (60.95,22.7,61.11,24.7), (61.57,22.7,61.73,24.7), (61.57,22.7,61.73,24.7), (63.95,22.7,64.11,24.7), (63.95,22.7,64.11,24.7), (64.57,22.7,64.73,24.7), (64.57,22.7,64.73,24.7), (66.95,22.7,67.11,24.7), (66.95,22.7,67.11,24.7), (67.57,22.7,67.73,24.7), (67.57,22.7,67.73,24.7), (69.95,22.7,70.11,24.7), (69.95,22.7,70.11,24.7), (70.57,22.7,70.73,24.7), (70.57,22.7,70.73,24.7), (72.95,22.7,73.11,24.7), (72.95,22.7,73.11,24.7), (73.57,22.7,73.73,24.7), (73.57,22.7,73.73,24.7), (75.95,22.7,76.11,24.7), (75.95,22.7,76.11,24.7), (76.57,22.7,76.73,24.7), (76.57,22.7,76.73,24.7), (78.95,22.7,79.11,24.7), (78.95,22.7,79.11,24.7), (79.57,22.7,79.73,24.7), (79.57,22.7,79.73,24.7), (81.95,22.7,82.11,24.7), (81.95,22.7,82.11,24.7), (82.57,22.7,82.73,24.7), (82.57,22.7,82.73,24.7), (84.95,22.7,85.11,24.7), (84.95,22.7,85.11,24.7), (85.57,22.7,85.73,24.7), (85.57,22.7,85.73,24.7), (87.95,22.7,88.11,24.7), (87.95,22.7,88.11,24.7), (88.57,22.7,88.73,24.7), (88.57,22.7,88.73,24.7), (90.95,22.7,91.11,24.7), (90.95,22.7,91.11,24.7), (91.57,22.7,91.73,24.7), (91.57,22.7,91.73,24.7), (93.95,22.7,94.11,24.7), (93.95,22.7,94.11,24.7), (94.57,22.7,94.73,24.7), (94.57,22.7,94.73,24.7), (96.95,22.7,97.11,24.7), (96.95,22.7,97.11,24.7), (97.57,22.7,97.73,24.7), (97.57,22.7,97.73,24.7), (99.95,22.7,100.11,24.7), (99.95,22.7,100.11,24.7), (56.15,25.01,56.41,25.27), (58.57,26.25,97.73,26.6), (97.57,26.25,100.94,26.6)])
A(central_bias, Metal1_pin, 6.21, 1.025, 0.5, 0.5, 8, 1, 12, 0)
A(central_bias, Metal1_pin, 7.71, 9.875, 0.5, 0.5, 8, 1, 12, 0)
A(central_bias, Metal1_pin, 57.21, 15.875, 0.5, 0.6, 4, 1, 12, 0)
A(central_bias, Metal1_pin, 57.21, 15.925, 0.5, 0.5, 4, 1, 12, 0)
A(central_bias, Metal1_pin, 58.71, 26.125, 0.5, 0.6, 4, 1, 12, 0)
A(central_bias, Metal1_pin, 58.71, 26.175, 0.5, 0.5, 4, 1, 12, 0)
R(central_bias, Metal1_pin, [(6.07,3,6.23,4), (8.45,3,8.61,4), (9.07,3,9.23,4), (11.45,3,11.61,4), (12.07,3,12.23,4), (14.45,3,14.61,4), (15.07,3,15.23,4), (17.45,3,17.61,4), (18.07,3,18.23,4), (20.45,3,20.61,4), (21.07,3,21.23,4), (23.45,3,23.61,4), (24.07,3,24.23,4), (26.45,3,26.61,4), (27.07,3,27.23,4), (29.45,3,29.61,4), (30.07,3,30.23,4), (32.45,3,32.61,4), (33.07,3,33.23,4), (35.45,3,35.61,4), (36.07,3,36.23,4), (38.45,3,38.61,4), (39.07,3,39.23,4), (41.45,3,41.61,4), (42.07,3,42.23,4), (44.45,3,44.61,4), (45.07,3,45.23,4), (47.45,3,47.61,4), (48.07,3,48.23,4), (50.45,3,50.61,4), (51.07,3,51.23,4), (53.45,3,53.61,4), (54.07,3,54.23,4), (56.45,3,56.61,4), (57.07,3,57.23,4), (59.45,3,59.61,4), (60.07,3,60.23,4), (62.45,3,62.61,4), (63.07,3,63.23,4), (65.45,3,65.61,4), (66.07,3,66.23,4), (68.45,3,68.61,4), (69.07,3,69.23,4), (71.45,3,71.61,4), (72.07,3,72.23,4), (74.45,3,74.61,4), (75.07,3,75.23,4), (77.45,3,77.61,4), (78.07,3,78.23,4), (80.45,3,80.61,4), (81.07,3,81.23,4), (83.45,3,83.61,4), (84.07,3,84.23,4), (86.45,3,86.61,4), (87.07,3,87.23,4), (89.45,3,89.61,4), (90.07,3,90.23,4), (92.45,3,92.61,4), (93.07,3,93.23,4), (95.45,3,95.61,4), (96.07,3,96.23,4), (98.45,3,98.61,4), (7.57,7.4,7.73,8.4), (9.95,7.4,10.11,8.4), (10.57,7.4,10.73,8.4), (12.95,7.4,13.11,8.4), (13.57,7.4,13.73,8.4), (15.95,7.4,16.11,8.4), (16.57,7.4,16.73,8.4), (18.95,7.4,19.11,8.4), (19.57,7.4,19.73,8.4), (21.95,7.4,22.11,8.4), (22.57,7.4,22.73,8.4), (24.95,7.4,25.11,8.4), (25.57,7.4,25.73,8.4), (27.95,7.4,28.11,8.4), (28.57,7.4,28.73,8.4), (30.95,7.4,31.11,8.4), (31.57,7.4,31.73,8.4), (33.95,7.4,34.11,8.4), (34.57,7.4,34.73,8.4), (36.95,7.4,37.11,8.4), (37.57,7.4,37.73,8.4), (39.95,7.4,40.11,8.4), (40.57,7.4,40.73,8.4), (42.95,7.4,43.11,8.4), (43.57,7.4,43.73,8.4), (45.95,7.4,46.11,8.4), (46.57,7.4,46.73,8.4), (48.95,7.4,49.11,8.4), (49.57,7.4,49.73,8.4), (51.95,7.4,52.11,8.4), (52.57,7.4,52.73,8.4), (54.95,7.4,55.11,8.4), (55.57,7.4,55.73,8.4), (57.95,7.4,58.11,8.4), (58.57,7.4,58.73,8.4), (60.95,7.4,61.11,8.4), (61.57,7.4,61.73,8.4), (63.95,7.4,64.11,8.4), (64.57,7.4,64.73,8.4), (66.95,7.4,67.11,8.4), (67.57,7.4,67.73,8.4), (69.95,7.4,70.11,8.4), (70.57,7.4,70.73,8.4), (72.95,7.4,73.11,8.4), (73.57,7.4,73.73,8.4), (75.95,7.4,76.11,8.4), (76.57,7.4,76.73,8.4), (78.95,7.4,79.11,8.4), (79.57,7.4,79.73,8.4), (81.95,7.4,82.11,8.4), (82.57,7.4,82.73,8.4), (84.95,7.4,85.11,8.4), (85.57,7.4,85.73,8.4), (87.95,7.4,88.11,8.4), (88.57,7.4,88.73,8.4), (90.95,7.4,91.11,8.4), (91.57,7.4,91.73,8.4), (93.95,7.4,94.11,8.4), (94.57,7.4,94.73,8.4), (96.95,7.4,97.11,8.4), (97.57,7.4,97.73,8.4), (99.95,7.4,100.11,8.4)])
A(central_bias, Metal2, 8.4, 5.25, 94.23, 0.3, 1, 3, 0, 0.6)
R(central_bias, Metal2, [(84.45,1.025,84.95,1.525), (2.95,4.65,100.28,4.95), (3.6,6.45,8.4,6.75), (3.6,6.45,3.9,20.85), (100.61,15.925,101.11,16.425), (3.6,20.55,56.41,20.85), (56.15,20.55,102.63,20.85), (59.4,21.15,102.63,21.45), (2.95,21.75,100.28,22.05)])
A(central_bias, pSD, 6.04, 0.855, 0.84, 0.84, 8, 1, 12, 0)
A(central_bias, pSD, 7.54, 9.705, 0.84, 0.84, 8, 1, 12, 0)
A(central_bias, pSD, 56.82, 17.6, 3.04, 2.6, 14, 1, 3, 0)
A(central_bias, pSD, 58.32, 22.4, 3.04, 2.6, 14, 1, 3, 0)
A(central_bias, Via1, 12.935, 4.705, 0.19, 0.19, 3, 1, 9, 0)
A(central_bias, Via1, 77.435, 4.705, 0.19, 0.19, 3, 1, 9, 0)
A(central_bias, Via1, 8.435, 5.305, 0.19, 0.19, 9, 1, 3, 0)
A(central_bias, Via1, 33.935, 5.305, 0.19, 0.19, 7, 1, 3, 0)
A(central_bias, Via1, 53.435, 5.305, 0.19, 0.19, 8, 1, 3, 0)
A(central_bias, Via1, 75.935, 5.305, 0.19, 0.19, 9, 1, 3, 0)
A(central_bias, Via1, 9.935, 5.905, 0.19, 0.19, 3, 1, 9, 0)
A(central_bias, Via1, 80.435, 5.905, 0.19, 0.19, 3, 1, 9, 0)
A(central_bias, Via1, 59.435, 20.605, 0.19, 0.19, 10, 1, 4.5, 0)
A(central_bias, Via1, 60.935, 21.205, 0.19, 0.19, 9, 1, 4.5, 0)
A(central_bias, Via1, 62.435, 21.805, 0.19, 0.19, 9, 1, 4.5, 0)
R(central_bias, Via1, [(84.605,1.18,84.795,1.37), (5.185,4.705,5.375,4.895), (41.435,4.705,41.625,4.895), (50.435,4.705,50.625,4.895), (57.935,4.705,58.125,4.895), (66.935,4.705,67.125,4.895), (38.435,5.905,38.625,6.095), (44.435,5.905,44.625,6.095), (54.935,5.905,55.125,6.095), (63.935,5.905,64.125,6.095), (69.935,5.905,70.125,6.095), (15.935,6.505,16.125,6.695), (24.935,6.505,25.125,6.695), (35.435,6.505,35.625,6.695), (47.435,6.505,47.625,6.695), (60.935,6.505,61.125,6.695), (72.935,6.505,73.125,6.695), (83.435,6.505,83.625,6.695), (92.435,6.505,92.625,6.695), (100.765,16.08,100.955,16.27), (56.185,20.605,56.375,20.795)])
R(central_bias, Via2, [(84.605,1.18,84.795,1.37), (3.105,4.705,3.295,4.895), (102.285,5.305,102.475,5.495), (102.285,5.905,102.475,6.095), (100.765,16.08,100.955,16.27), (102.285,21.205,102.475,21.395), (3.105,21.805,3.295,21.995)])
R(central_bias, Metal3, [(84.45,1.025,84.95,1.525), (3.01,4.61,3.39,4.99), (102.19,5.21,102.57,5.59), (102.19,5.81,102.57,6.19), (100.61,15.925,101.11,16.425), (102.19,21.11,102.57,21.49), (3.01,21.71,3.39,22.09)])
R(central_bias, Metal3_pin, [(3.01,4.61,3.39,4.99), (102.19,5.21,102.57,5.59), (102.19,5.81,102.57,6.19), (102.19,21.11,102.57,21.49), (3.01,21.71,3.39,22.09)])
A(central_bias, NWell, 56.83, 15.545, 1.26, 1.26, 4, 1, 12, 0)
A(central_bias, NWell, 57.07, 15.785, 0.78, 0.78, 4, 1, 12, 0)
A(central_bias, NWell, 56.69, 17.59, 3.3, 2.62, 14, 1, 3, 0)
A(central_bias, NWell, 58.19, 22.39, 3.3, 2.62, 14, 1, 3, 0)
A(central_bias, NWell, 58.33, 25.795, 1.26, 1.26, 4, 1, 12, 0)
A(central_bias, NWell, 58.57, 26.035, 0.78, 0.78, 4, 1, 12, 0)
R(central_bias, NWell, [(55.8,15.4,101.48,27.2)])
A(central_bias, NWell_2, 57.07, 15.785, 0.78, 0.78, 4, 1, 12, 0)
A(central_bias, NWell_2, 58.57, 26.035, 0.78, 0.78, 4, 1, 12, 0)
A(central_bias, Substrate, 6.07, 0.885, 0.78, 0.78, 8, 1, 12, 0)
A(central_bias, Substrate, 7.57, 9.735, 0.78, 0.78, 8, 1, 12, 0)
R(central_bias, Via3, [(84.605,1.18,84.795,1.37), (100.765,16.08,100.955,16.27)])
R(central_bias, Metal4, [(84.4,0.975,85,1.575), (95.7,15.875,100.86,16.475), (100.56,15.875,101.16,16.475)])
R(central_bias, Metal4_pin, [(84.4,0.975,85,1.575), (100.56,15.875,101.16,16.475)])
A(central_bias, HeatTrans, 6.34, 2.82, 2, 1.36, 31, 1, 3, 0)
A(central_bias, HeatTrans, 7.84, 7.22, 2, 1.36, 31, 1, 3, 0)
A(central_bias, HeatTrans, 57.34, 17.72, 2, 2.36, 14, 1, 3, 0)
A(central_bias, HeatTrans, 58.84, 22.52, 2, 2.36, 14, 1, 3, 0)
central_bias.add(gdstk.Label('IB_IN', (3.2,4.8), layer=30, texttype=25))
central_bias.add(gdstk.Label('IB_IA', (102.38,5.4), layer=30, texttype=25))
central_bias.add(gdstk.Label('IB_BUF', (102.38,6), layer=30, texttype=25))
central_bias.add(gdstk.Label('IB_G1', (102.38,21.3), layer=30, texttype=25))
central_bias.add(gdstk.Label('IB_G2', (3.2,21.9), layer=30, texttype=25))
central_bias.add(gdstk.Label('AVSS', (84.7,1.275), layer=50, texttype=25))
central_bias.add(gdstk.Label('AVDD', (100.86,16.175), layer=50, texttype=25))

lib.write_gds('central_bias.gds')
